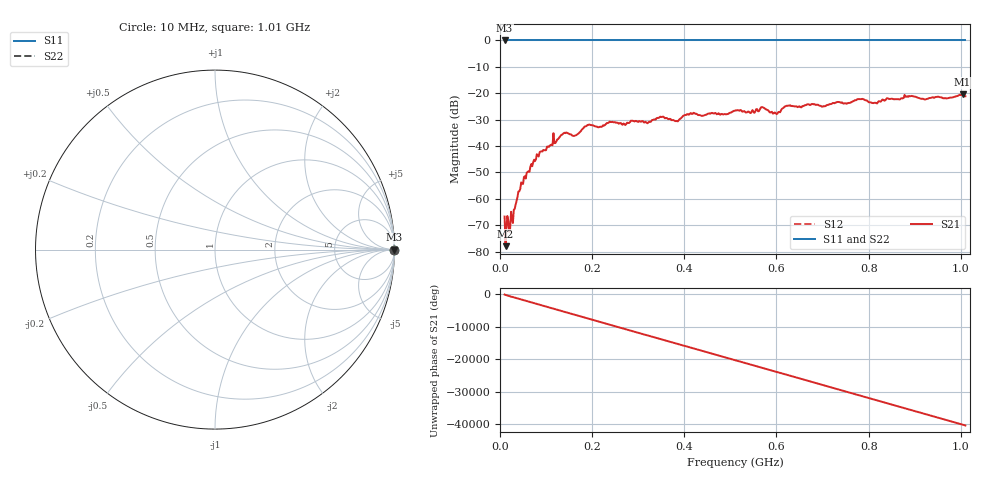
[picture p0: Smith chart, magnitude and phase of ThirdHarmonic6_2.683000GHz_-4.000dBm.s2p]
! 8/17/2025 6:18:57 AM
! C:\ANRITSUVNA\TEMP\TEMP.S2P
! CHANNEL.1
! TR.MEASUREMENT
! RAW.DATA
! RF.CORRECTION.OFF
! AVERAGING.OFF
! IF.BANDWIDTH: 5KHZ
! SWEEPTYPE:  FREQ.SWEEP(Linear)
! Reference Plane Port Info
! PORT:  PORT1  PORT2
! DISTANCE:  0  m  0  m
! TIME:  0  s  0  s
! PHASE.OFFSET:  0  deg.  0  deg.
! LOSS:  0  dB  0  dB
! REF.LOSS:  0  dB  0  dB
! REF.FREQ:  0  Hz  0  Hz
! Power Info
! POWER:  -20  dBm  -20  dBm
! EFF.POWER:  -20  dBm  -20  dBm
! SOURCE.ATTEN:  0  dB  0  dB
! TEST.ATTEN:  0  dB  0  dB
# GHZ S RI R 50.0
! FREQ.GHZ  S11RE  S11IM  S21RE  S21IM  S12RE  S12IM  S22RE  S22IM
!; PortSelection: Port_12
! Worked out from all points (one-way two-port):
!   501 points, 10 MHz to 1.01 GHz, reference 50 ohm
!   highest |S21| = -20.47 dB at 1.004 GHz (marker M1); lowest = -78.0 dB at 12 MHz (marker M2)
!   lowest |S11| = 0.0 dB at 10 MHz (marker M3)
!   |S11| at or under -10 dB: nowhere
!   |S22| runs from 0.0 to 0.0 dB; largest |S21 - S12| = 1.1
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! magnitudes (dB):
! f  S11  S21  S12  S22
! 10 MHz  0.0  -66.7  0.0  0.0
! 12 MHz  0.0  -78.0  0.0  0.0
! 16 MHz  0.0  -66.5  0.0  0.0
! 20 MHz  0.0  -72.5  0.0  0.0
! 24 MHz  0.0  -64.9  0.0  0.0
! 50 MHz  0.0  -54.4  0.0  0.0
! 84 MHz  0.0  -44.0  0.0  0.0
! 136 MHz  0.0  -35.5  0.0  0.0
! 162 MHz  0.0  -36.1  0.0  0.0
! 178 MHz  0.0  -33.7  0.0  0.0
! 192 MHz  0.0  -32.0  0.0  0.0
! 344 MHz  0.0  -29.4  0.0  0.0
! 384 MHz  0.0  -30.6  0.0  0.0
! 416 MHz  0.0  -27.8  0.0  0.0
! 510 MHz  0.0  -26.6  0.0  0.0
! 570 MHz  0.0  -25.3  0.0  0.0
! 598 MHz  0.0  -27.5  0.0  0.0
! 622 MHz  0.0  -24.8  0.0  0.0
! 678 MHz  0.0  -24.1  0.0  0.0
! 844 MHz  0.0  -22.2  0.0  0.0
! 1.004 GHz  0.0  -20.5  0.0  0.0
! 1.01 GHz  0.0  -21.1  0.0  0.0
